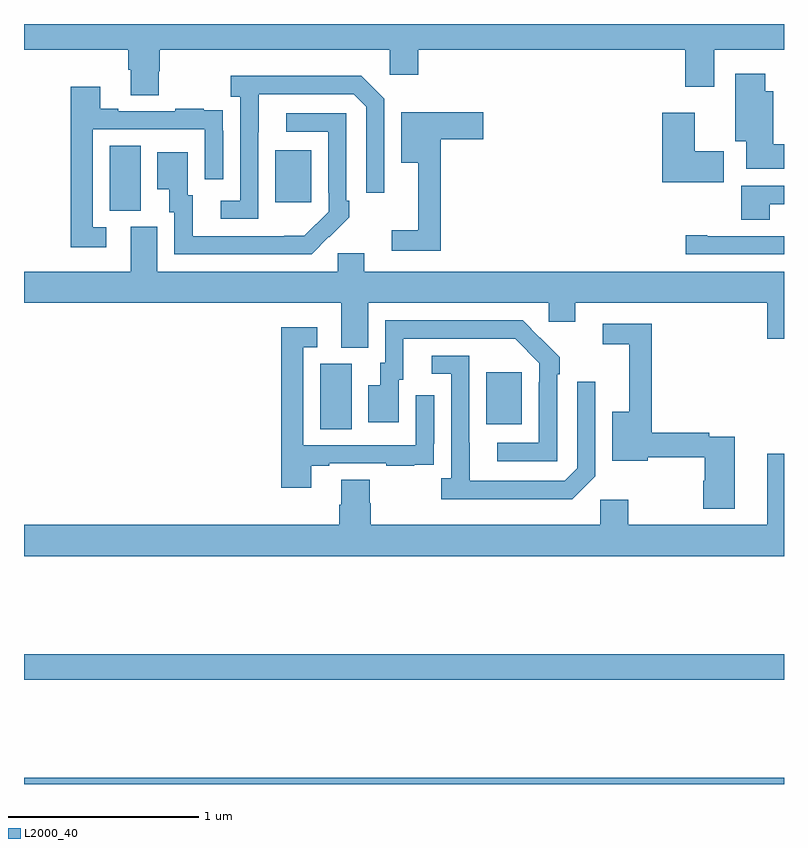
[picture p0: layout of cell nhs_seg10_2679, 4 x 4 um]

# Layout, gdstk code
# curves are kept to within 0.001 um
import gdstk
lib = gdstk.Library(unit=1e-6, precision=1e-09)
def R(c, l, rs):  # rectangles x0, y0, x1, y1
    for r in rs: c.add(gdstk.rectangle(r[:2], r[2:], *l))
def P(c, l, *ps):  # polygons
    for p in ps: c.add(gdstk.Polygon(p, *l))
L2000_40 = (2000, 40)

nhs_seg10_2679 = lib.new_cell('nhs_seg10_2679')
R(nhs_seg10_2679, L2000_40, [(257,1248.5,261,1248.532), (257,1249.048,261,1249.184), (258.56,1250.368,258.724,1250.712), (259.433,1250.393,259.621,1250.668), (257.45,1251.517,257.614,1251.86), (258.323,1251.561,258.511,1251.835)])
P(nhs_seg10_2679, L2000_40, [(257.709,1252.251),(257.714,1252.251),(257.714,1252.364),(258.924,1252.364),(258.924,1252.233),(259.076,1252.233),(259.076,1252.364),(260.48,1252.364),(260.48,1252.17),(260.632,1252.17),(260.632,1252.364),(261,1252.364),(261,1252.5),(257,1252.5),(257,1252.364),(257.549,1252.364),(257.549,1252.258),(257.561,1252.258),(257.561,1252.126),(257.709,1252.126)],
  [(261,1251.868),(260.944,1251.868),(260.944,1252.147),(260.902,1252.147),(260.902,1252.237),(260.744,1252.237),(260.744,1251.884),(260.801,1251.884),(260.801,1251.737),(261,1251.737)],
  [(258.234,1251.931),(258.235,1252.131),(258.735,1252.131),(258.801,1252.065),(258.801,1251.612),(258.897,1251.612),(258.897,1252.107),(258.776,1252.228),(258.087,1252.228),(258.087,1252.118),(258.138,1252.118),(258.138,1251.57),(258.036,1251.57),(258.036,1251.474),(258.234,1251.474)],
  [(257.434,1251.429),(257.361,1251.429),(257.361,1251.945),(257.952,1251.945),(257.952,1251.684),(258.048,1251.684),(258.048,1251.938),(258.047,1251.938),(258.047,1252.047),(257.945,1252.047),(257.945,1252.054),(257.797,1252.054),(257.797,1252.041),(257.497,1252.041),(257.497,1252.054),(257.401,1252.054),(257.401,1252.171),(257.245,1252.171),(257.245,1251.324),(257.434,1251.324)],
  [(259.193,1251.893),(259.416,1251.893),(259.416,1252.035),(258.986,1252.035),(258.986,1251.77),(259.076,1251.77),(259.076,1251.415),(258.936,1251.415),(258.936,1251.306),(259.193,1251.306)],
  [(260.683,1251.831),(260.53,1251.831),(260.53,1252.033),(260.36,1252.033),(260.36,1251.668),(260.683,1251.668)],
  [(258.605,1251.379),(258.606,1251.378),(258.711,1251.483),(258.711,1251.571),(258.696,1251.571),(258.696,1252.029),(258.381,1252.029),(258.381,1251.933),(258.6,1251.933),(258.6,1251.613),(258.603,1251.613),(258.603,1251.513),(258.475,1251.385),(257.887,1251.384),(257.887,1251.6),(257.863,1251.6),(257.863,1251.826),(257.702,1251.826),(257.702,1251.629),(257.765,1251.629),(257.765,1251.51),(257.79,1251.51),(257.79,1251.288),(258.514,1251.288)],
  [(260.926,1251.552),(261,1251.552),(261,1251.648),(260.774,1251.648),(260.774,1251.469),(260.926,1251.469)],
  [(258.811,1251.032),(259.761,1251.032),(259.761,1250.934),(259.9,1250.934),(259.9,1251.032),(260.912,1251.032),(260.912,1250.844),(261,1250.844),(261,1251.196),(258.79,1251.196),(258.79,1251.294),(258.651,1251.294),(258.651,1251.196),(257.701,1251.196),(257.701,1251.432),(257.561,1251.432),(257.561,1251.196),(257,1251.196),(257,1251.032),(258.671,1251.032),(258.671,1250.797),(258.811,1250.797)],
  [(261,1251.384),(260.596,1251.384),(260.596,1251.389),(260.484,1251.389),(260.484,1251.288),(261,1251.288)],
  [(259.806,1250.657),(259.821,1250.657),(259.821,1250.745),(259.624,1250.94),(258.9,1250.94),(258.9,1250.718),(258.875,1250.718),(258.875,1250.599),(258.812,1250.599),(258.812,1250.403),(258.973,1250.403),(258.973,1250.628),(258.997,1250.628),(258.997,1250.844),(259.585,1250.844),(259.713,1250.715),(259.713,1250.615),(259.71,1250.615),(259.71,1250.295),(259.491,1250.295),(259.491,1250.199),(259.806,1250.199)],
  [(260.74,1250.328),(260.606,1250.328),(260.606,1250.348),(260.303,1250.348),(260.303,1250.922),(260.046,1250.922),(260.046,1250.814),(260.186,1250.814),(260.186,1250.458),(260.096,1250.458),(260.096,1250.201),(260.284,1250.201),(260.284,1250.22),(260.582,1250.22),(260.582,1250.097),(260.575,1250.097),(260.575,1249.949),(260.74,1249.949)],
  [(258.511,1250.175),(258.607,1250.175),(258.607,1250.187),(258.907,1250.187),(258.907,1250.175),(259.055,1250.175),(259.055,1250.181),(259.157,1250.181),(259.157,1250.29),(259.158,1250.29),(259.158,1250.545),(259.062,1250.545),(259.062,1250.283),(258.471,1250.283),(258.471,1250.799),(258.544,1250.799),(258.544,1250.905),(258.355,1250.905),(258.355,1250.058),(258.511,1250.058)],
  [(260.007,1250.121),(260.007,1250.617),(259.911,1250.617),(259.911,1250.163),(259.845,1250.097),(259.345,1250.097),(259.344,1250.754),(259.146,1250.754),(259.146,1250.658),(259.248,1250.658),(259.248,1250.11),(259.197,1250.11),(259.197,1250),(259.886,1250)],
  [(258.819,1249.977),(258.819,1250.102),(258.671,1250.102),(258.671,1249.97),(258.659,1249.97),(258.659,1249.864),(257,1249.864),(257,1249.7),(261,1249.7),(261,1250.239),(260.912,1250.239),(260.912,1249.864),(260.181,1249.864),(260.181,1249.996),(260.034,1249.996),(260.034,1249.864),(258.824,1249.864),(258.824,1249.977)])

lib.write_gds('nhs_seg10_2679.gds')
